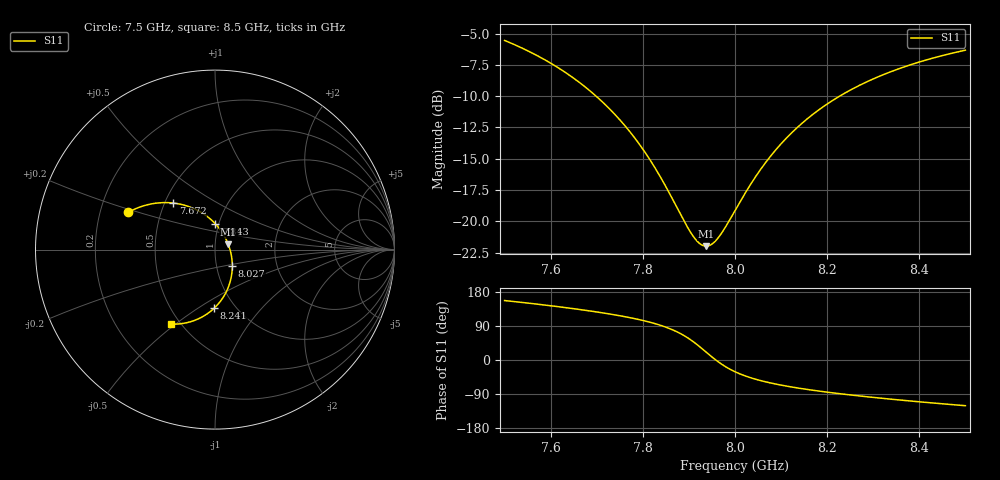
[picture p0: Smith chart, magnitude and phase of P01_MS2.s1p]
! Touchstone file exported from HFSS 2025.1.0
!  File:  C:/Users/user/Documents/Ansoft/TFG_UWB-MIMO-Array.aedt
!  Generated:  05:34:37 PM Nov 20, 2026
!  Design:  P01_MS2
!  Project:  TFG_UWB-MIMO-Array
!  Setup:  Setup_ch9
!  Solution:  Sweep_7p5_8p5
! Variables:
!  board_x = 26mm
!  board_y = 26mm
!  cu_t = 0.035mm
!  line_w = 3.92mm
!  pad_xy = 22mm
!  pad_zn = 25mm
!  pad_zp = 33mm
!  patch_L = 7.322mm
!  patch_W = 11.421266mm
!  sub_h = 2.07mm
!  tr_l = 7.1mm
!  tr_w = 0.8mm
# GHz S MA R 50.000000
! Terminal data exported
! Port[1] = P1
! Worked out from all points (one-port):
!   1001 points, 7.5 GHz to 8.5 GHz, reference 50 ohm
!   lowest |S11| = -22.0 dB at 7.937 GHz (marker M1), VSWR 1.17, Z = 57.9 + j3.35 ohm
!   |S11| at or under -10 dB: 7.698 GHz to 8.227 GHz (528.7 MHz wide, 6.64 % of centre)
!   S11 on the Smith chart (normalised r, x): 7.5 GHz: 0.32, +0.18; 7.672 GHz: 0.56, +0.33; 7.843 GHz: 0.96, +0.28; 8.027 GHz: 1.19, -0.23; 8.241 GHz: 0.80, -0.59; 8.5 GHz: 0.45, -0.48
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7.5  0.5276 156.9
7.566  0.4637 148.1
7.625  0.4008 139.4
7.672  0.3474 131.7
7.713  0.2989 124.3
7.75  0.2543 116.8
7.798  0.1966 104.9
7.843  0.145 89.7
7.875  0.1126 73.8
7.897  0.09467 58.8
7.912  0.0858 46.0
7.925  0.08108 33.4
7.937  0.07957 21.2
7.949  0.08088 9.0
7.962  0.08523 -3.4
7.977  0.09338 -15.8
8  0.1103 -31.0
8.027  0.1341 -44.1
8.05  0.1558 -52.6
8.074  0.179 -59.8
8.125  0.2275 -71.7
8.179  0.2762 -81.5
8.241  0.3271 -90.9
8.25  0.3341 -92.2
8.312  0.3786 -100.2
8.375  0.4184 -107.6
8.436  0.452 -114.2
8.5  0.4825 -120.6
